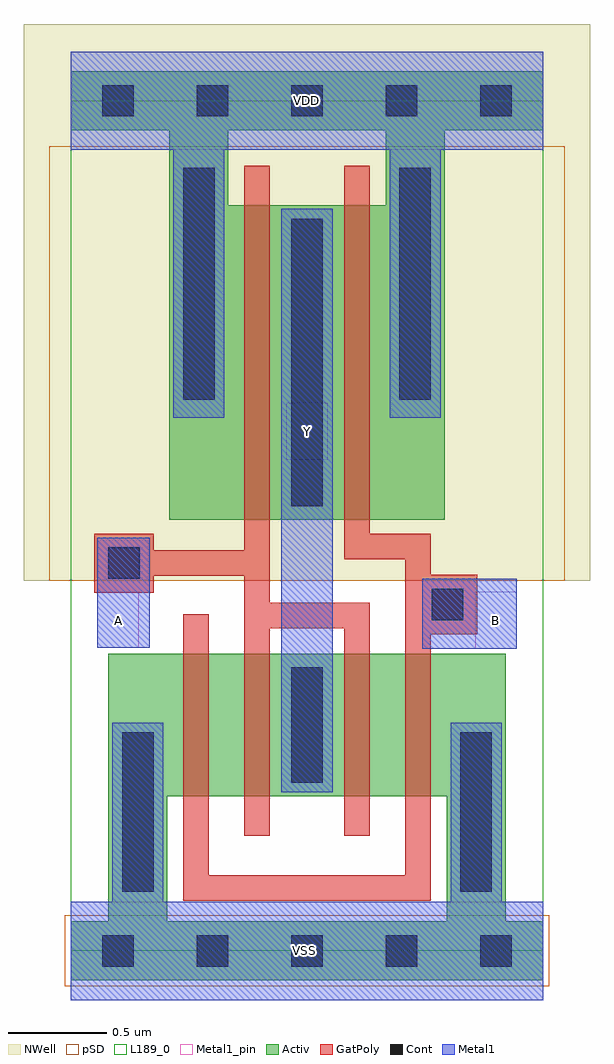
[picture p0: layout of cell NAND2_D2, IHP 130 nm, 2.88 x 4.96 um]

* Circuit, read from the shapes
.subckt NAND2_D2 A B VDD VSS Y
XM1 n1 B VSS VSS sg13_lv_nmos w=0.725u l=0.13u
XM2 Y A n1 VSS sg13_lv_nmos w=0.725u l=0.13u
XM3 n2 A Y VSS sg13_lv_nmos w=0.725u l=0.13u
XM4 VSS B n2 VSS sg13_lv_nmos w=0.725u l=0.13u
XM5 Y A VDD VDD sg13_lv_pmos w=1.6u l=0.13u
XM6 VDD B Y VDD sg13_lv_pmos w=1.6u l=0.13u
.ends

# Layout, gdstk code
import gdstk
lib = gdstk.Library(unit=1e-6, precision=1e-09)
def R(c, l, rs):  # rectangles x0, y0, x1, y1
    for r in rs: c.add(gdstk.rectangle(r[:2], r[2:], *l))
def A(c, l, x, y, w, h, nx, ny, dx, dy):  # array of equal rectangles
    R(c, l, [(x+i*dx, y+j*dy, x+i*dx+w, y+j*dy+h) for i in range(nx) for j in range(ny)])
def P(c, l, *ps):  # polygons
    for p in ps: c.add(gdstk.Polygon(p, *l))
Activ = (1, 0)
GatPoly = (5, 0)
Cont = (6, 0)
Metal1 = (8, 0)
Metal1_pin = (8, 2)
pSD = (14, 0)
NWell = (31, 0)
L189_0 = (189, 0)

nand2_d2 = lib.new_cell('NAND2_D2')
P(nand2_d2, Activ, [(0,-0.15),(0,0.15),(0.19,0.15),(0.19,0.785),(0.49,0.785),(0.49,0.15),(1.91,0.15),(1.91,0.785),(0.19,0.785),(0.19,1.51),(2.21,1.51),(2.21,0.15),(2.4,0.15),(2.4,-0.15)],
  [(0.5,2.19),(0.5,4.17),(0.8,4.17),(0.8,3.79),(1.6,3.79),(1.6,4.17),(0,4.17),(0,4.47),(2.4,4.47),(2.4,4.17),(1.9,4.17),(1.9,2.19)])
P(nand2_d2, GatPoly, [(0.88,0.585),(0.88,1.905),(0.42,1.905),(0.42,1.82),(0.12,1.82),(0.12,2.12),(0.42,2.12),(0.42,2.035),(0.88,2.035),(0.88,3.99),(1.01,3.99),(1.01,1.77),(1.52,1.77),(1.52,0.585),(1.39,0.585),(1.39,1.64),(1.01,1.64),(1.01,0.585)],
  [(0.57,0.255),(0.57,1.71),(0.7,1.71),(0.7,0.385),(1.7,0.385),(1.7,1.99),(1.39,1.99),(1.39,3.99),(1.52,3.99),(1.52,2.12),(1.83,2.12),(1.83,1.91),(2.065,1.91),(2.065,1.61),(1.83,1.61),(1.83,0.255)])
A(nand2_d2, Cont, 0.16, -0.08, 0.16, 0.16, 5, 2, 0.48, 4.32)
R(nand2_d2, Cont, [(0.26,0.3,0.42,1.11), (1.98,0.3,2.14,1.11), (1.12,0.855,1.28,1.44), (1.835,1.68,1.995,1.84), (0.19,1.89,0.35,2.05), (1.12,2.26,1.28,3.72), (0.57,2.8,0.73,3.98), (1.67,2.8,1.83,3.98)])
R(nand2_d2, Metal1, [(1.07,0.805,1.33,3.77), (1.785,1.535,2.265,1.89), (0.135,1.54,0.4,2.1)])
P(nand2_d2, Metal1, [(0,-0.25),(0,0.25),(0.21,0.25),(0.21,1.16),(0.47,1.16),(0.47,0.25),(1.93,0.25),(1.93,1.16),(2.19,1.16),(2.19,0.25),(2.4,0.25),(2.4,-0.25)],
  [(0.52,2.71),(0.52,4.07),(0,4.07),(0,4.57),(2.4,4.57),(2.4,4.07),(1.88,4.07),(1.88,2.71),(1.62,2.71),(1.62,4.07),(0.78,4.07),(0.78,2.71)])
R(nand2_d2, Metal1_pin, [(0,-0.25,2.4,0.25), (2.055,1.535,2.265,1.825), (0.135,1.54,0.345,1.825), (1.095,2.495,1.305,2.785), (0,4.07,2.4,4.57)])
R(nand2_d2, pSD, [(-0.03,-0.18,2.43,0.18), (-0.11,1.88,2.51,4.09)])
R(nand2_d2, NWell, [(-0.24,1.88,2.64,4.71)])
R(nand2_d2, L189_0, [(0,0,2.4,4.32)])
nand2_d2.add(gdstk.Label('B', (2.16,1.68), layer=8, texttype=25))
nand2_d2.add(gdstk.Label('VDD', (1.195,4.32), layer=8, texttype=25))
nand2_d2.add(gdstk.Label('A', (0.24,1.68), layer=8, texttype=25))
nand2_d2.add(gdstk.Label('Y', (1.2,2.64), layer=8, texttype=25))
nand2_d2.add(gdstk.Label('VSS', (1.185,0), layer=8, texttype=25))

lib.write_gds('NAND2_D2.gds')
